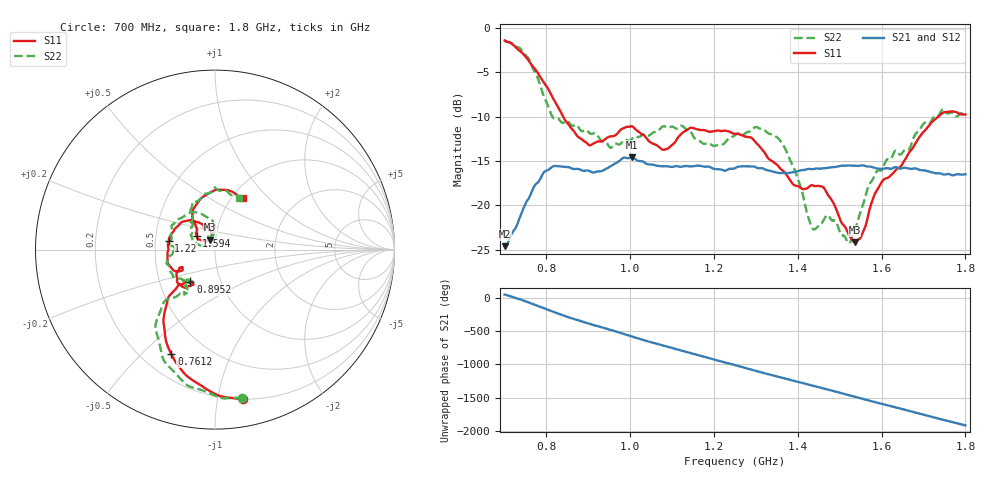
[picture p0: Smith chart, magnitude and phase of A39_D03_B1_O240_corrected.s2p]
! Created with skrf 1.9.0 (http://scikit-rf.org).
# Hz S RI R 50.0
!freq ReS11 ImS11 ReS21 ImS21 ReS12 ImS12 ReS22 ImS22
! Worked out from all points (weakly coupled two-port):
!   1601 points, 700 MHz to 1.8 GHz, reference 50 ohm
!   highest |S21| = -14.59 dB at 1.003 GHz (marker M1); lowest = -24.6 dB at 701.4 MHz (marker M2)
!   lowest |S11| = -24.2 dB at 1.535 GHz (marker M3), VSWR 1.13, Z = 47.1 + j5.31 ohm
!   |S11| at or under -10 dB: 839.4 MHz to 1.735 GHz (895.6 MHz wide, 69.6 % of centre)
!   |S22| runs from -24.3 to -1.5 dB; largest |S21 - S12| = 0.0036
!   S11 on the Smith chart (normalised r, x): 700 MHz: 0.20, -1.19; 761.2 MHz: 0.32, -0.62; 895.2 MHz: 0.72, -0.27; 1.22 GHz: 0.59, +0.06; 1.594 GHz: 0.81, +0.12; 1.8 GHz: 1.13, +0.72
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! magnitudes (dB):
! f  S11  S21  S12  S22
! 700 MHz  -1.4  -24.6  -24.4  -1.5
! 701.4 MHz  -1.5  -24.6  -24.2  -1.5
! 761.2 MHz  -4.0  -18.9  -18.8  -3.9
! 814.8 MHz  -7.9  -15.6  -15.7  -10.1
! 883.6 MHz  -12.5  -16.0  -15.9  -11.6
! 895.2 MHz  -12.9  -16.1  -16.2  -11.5
! 953 MHz  -12.2  -15.6  -15.6  -13.5
! 1.003 GHz  -11.1  -14.6  -14.7  -12.6
! 1.067 GHz  -13.4  -15.6  -15.5  -11.6
! 1.144 GHz  -11.3  -15.6  -15.6  -11.7
! 1.22 GHz  -11.6  -16.0  -16.1  -13.1
! 1.25 GHz  -12.0  -15.8  -15.7  -12.1
! 1.356 GHz  -15.7  -16.4  -16.3  -12.6
! 1.394 GHz  -17.8  -16.2  -16.2  -16.1
! 1.434 GHz  -17.7  -15.9  -15.9  -22.5
! 1.463 GHz  -18.1  -15.8  -15.8  -21.5
! 1.521 GHz  -23.2  -15.5  -15.5  -24.3
! 1.535 GHz  -24.2  -15.5  -15.5  -23.0
! 1.594 GHz  -17.9  -15.9  -15.9  -16.0
! 1.617 GHz  -16.8  -15.8  -15.8  -14.8
! 1.74 GHz  -9.8  -16.4  -16.4  -9.5
! 1.8 GHz  -9.8  -16.5  -16.5  -9.9
